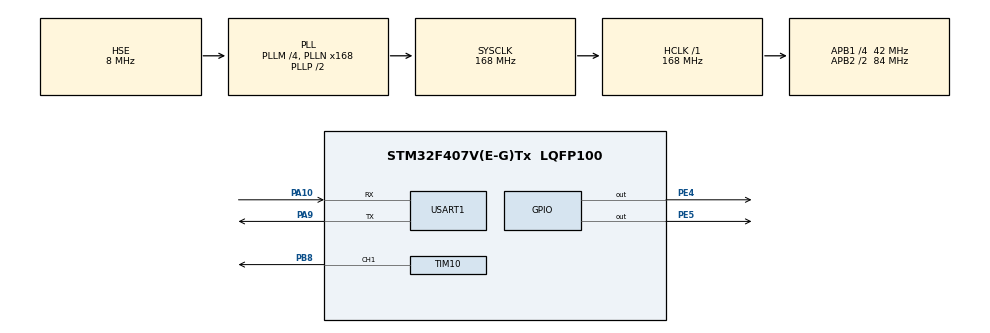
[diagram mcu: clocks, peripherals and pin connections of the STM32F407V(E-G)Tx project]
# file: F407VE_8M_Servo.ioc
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Mcu.Family=STM32F4
Mcu.Name=STM32F407V(E-G)Tx
Mcu.Package=LQFP100
NVIC.PriorityGroup=NVIC_PRIORITYGROUP_4
NVIC.USART1_IRQn=true\:0\:0\:false\:false\:true\:true\:true
PA10.Mode=Asynchronous
PA10.Signal=USART1_RX
PA13.Mode=Serial_Wire
PA13.Signal=SYS_JTMS-SWDIO
PA14.Mode=Serial_Wire
PA14.Signal=SYS_JTCK-SWCLK
PA9.Mode=Asynchronous
PA9.Signal=USART1_TX
PB8.GPIO_PuPd=GPIO_PULLDOWN
PB8.Signal=S_TIM10_CH1
PC14-OSC32_IN.Mode=LSE-External-Oscillator
PC14-OSC32_IN.Signal=RCC_OSC32_IN
PC15-OSC32_OUT.Mode=LSE-External-Oscillator
PC15-OSC32_OUT.Signal=RCC_OSC32_OUT
PE4.GPIO_ModeDefaultOutputPP=GPIO_MODE_OUTPUT_PP
PE4.GPIO_PuPd=GPIO_PULLUP
PE4.GPIO_Speed=GPIO_SPEED_FREQ_VERY_HIGH
PE4.PinState=GPIO_PIN_SET
PE4.Signal=GPIO_Output
PE5.GPIO_ModeDefaultOutputPP=GPIO_MODE_OUTPUT_PP
PE5.GPIO_PuPd=GPIO_PULLUP
PE5.GPIO_Speed=GPIO_SPEED_FREQ_VERY_HIGH
PE5.PinState=GPIO_PIN_SET
PE5.Signal=GPIO_Output
PH0-OSC_IN.Mode=HSE-External-Oscillator
PH0-OSC_IN.Signal=RCC_OSC_IN
PH1-OSC_OUT.Mode=HSE-External-Oscillator
PH1-OSC_OUT.Signal=RCC_OSC_OUT
ProjectManager.HeapSize=0x200
ProjectManager.StackSize=0x400
ProjectManager.TargetToolchain=MDK-ARM V5.27
RCC.48MHZClocksFreq_Value=84000000
RCC.AHBFreq_Value=168000000
RCC.APB1CLKDivider=RCC_HCLK_DIV4
RCC.APB1Freq_Value=42000000
RCC.APB1TimFreq_Value=84000000
RCC.APB2CLKDivider=RCC_HCLK_DIV2
RCC.APB2Freq_Value=84000000
RCC.APB2TimFreq_Value=168000000
RCC.CortexFreq_Value=168000000
RCC.HCLKFreq_Value=168000000
RCC.HSE_VALUE=8000000
RCC.HSI_VALUE=16000000
RCC.PLLM=4
RCC.PLLN=168
RCC.PLLSourceVirtual=RCC_PLLSOURCE_HSE
RCC.SYSCLKFreq_VALUE=168000000
RCC.SYSCLKSource=RCC_SYSCLKSOURCE_PLLCLK
RCC.VCOOutputFreq_Value=336000000
SH.S_TIM10_CH1.0=TIM10_CH1,PWM Generation1 CH1
TIM10.AutoReloadPreload=TIM_AUTORELOAD_PRELOAD_ENABLE
TIM10.Channel=TIM_CHANNEL_1
TIM10.OCMode_PWM=TIM_OCMODE_PWM1
TIM10.OCPolarity_1=TIM_OCPOLARITY_LOW
TIM10.Period=20000
TIM10.Prescaler=167
TIM10.Pulse=18500
USART1.VirtualMode=VM_ASYNC
VP_TIM10_VS_ClockSourceINT.Mode=Enable_Timer
board=custom

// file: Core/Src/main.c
/* USER CODE BEGIN Header */
/**
  ******************************************************************************
  * @file           : main.c
  * @brief          : Main program body
  ******************************************************************************
  * @attention
  *
  * <h2><center>&copy; Copyright (c) 2021 STMicroelectronics.
  * All rights reserved.</center></h2>
  *
  * This software component is licensed by ST under BSD 3-Clause license,
  * the "License"; You may not use this file except in compliance with the
  * License. You may obtain a copy of the License at:
  *                        opensource.org/licenses/BSD-3-Clause
  *
  ******************************************************************************
  */
/* USER CODE END Header */
#include "main.h"
#include "tim.h"
#include "usart.h"
#include "gpio.h"

/* USER CODE BEGIN Includes */
#include "Servo/servo.h"
/* USER CODE END Includes */

void SystemClock_Config(void);

int main(void)
{
  /* USER CODE BEGIN 1 */
  uint16_t val;
  ServoHandle servo;
  char str[64];
  /* USER CODE END 1 */

  /* MCU Configuration--------------------------------------------------------*/

  /* Reset of all peripherals, Initializes the Flash interface and the Systick. */
  HAL_Init();

  /* Configure the system clock */
  SystemClock_Config();

  /* Initialize all configured peripherals */
  MX_GPIO_Init();
  MX_USART1_UART_Init();
  MX_TIM10_Init();
  /* USER CODE BEGIN 2 */
  Delay_Init(168);
  MyUSART1_Init(&huart1);
  Delay_ms(2000);
  //HAL_TIM_PWM_Start(&htim10, TIM_CHANNEL_1);
  //HAL_TIM_Base_Start(&htim9);
  //HAL_TIM_PWM_Start(&htim9, TIM_CHANNEL_1);
  Servo_Init(&servo, &htim10, TIM_CHANNEL_1, 500);
  printf("Servo Test\r\n");
  Servo_Start(&servo);
  /* USER CODE END 2 */

  /* Infinite loop */
  while (1)
  {

    /* USER CODE BEGIN 3 */
    Delay_ms(100);
    if(MyUSART1_ReadUntil(str, '>'))
    {
      val = myatoi(str);
      printf("Go: %d\r\n", val);
      Servo_Go(&servo, val);
    }
  }
  /* USER CODE END 3 */
}

void SystemClock_Config(void)
{
  RCC_OscInitTypeDef RCC_OscInitStruct = {0};
  RCC_ClkInitTypeDef RCC_ClkInitStruct = {0};

  /** Configure the main internal regulator output voltage
  */
  __HAL_RCC_PWR_CLK_ENABLE();
  __HAL_PWR_VOLTAGESCALING_CONFIG(PWR_REGULATOR_VOLTAGE_SCALE1);
  /** Initializes the RCC Oscillators according to the specified parameters
  * in the RCC_OscInitTypeDef structure.
  */
  RCC_OscInitStruct.OscillatorType = RCC_OSCILLATORTYPE_HSE;
  RCC_OscInitStruct.HSEState = RCC_HSE_ON;
  RCC_OscInitStruct.PLL.PLLState = RCC_PLL_ON;
  RCC_OscInitStruct.PLL.PLLSource = RCC_PLLSOURCE_HSE;
  RCC_OscInitStruct.PLL.PLLM = 4;
  RCC_OscInitStruct.PLL.PLLN = 168;
  RCC_OscInitStruct.PLL.PLLP = RCC_PLLP_DIV2;
  RCC_OscInitStruct.PLL.PLLQ = 4;
  if (HAL_RCC_OscConfig(&RCC_OscInitStruct) != HAL_OK)
  {
    Error_Handler();
  }
  /** Initializes the CPU, AHB and APB buses clocks
  */
  RCC_ClkInitStruct.ClockType = RCC_CLOCKTYPE_HCLK|RCC_CLOCKTYPE_SYSCLK
                              |RCC_CLOCKTYPE_PCLK1|RCC_CLOCKTYPE_PCLK2;
  RCC_ClkInitStruct.SYSCLKSource = RCC_SYSCLKSOURCE_PLLCLK;
  RCC_ClkInitStruct.AHBCLKDivider = RCC_SYSCLK_DIV1;
  RCC_ClkInitStruct.APB1CLKDivider = RCC_HCLK_DIV4;
  RCC_ClkInitStruct.APB2CLKDivider = RCC_HCLK_DIV2;

  if (HAL_RCC_ClockConfig(&RCC_ClkInitStruct, FLASH_LATENCY_5) != HAL_OK)
  {
    Error_Handler();
  }
}

void Error_Handler(void)
{
  __disable_irq();
  while (1)
  {
  }
}

/************************ (C) COPYRIGHT STMicroelectronics *****END OF FILE****/
